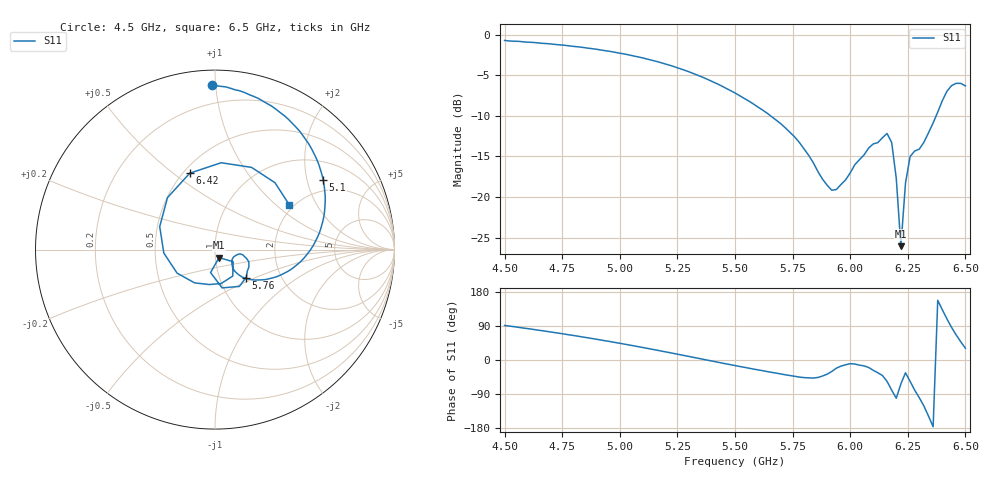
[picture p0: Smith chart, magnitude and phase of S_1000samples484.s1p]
! TOUCHSTONE file generated by CST MICROWAVE STUDIO
! Date and time: Fri Oct 28 07:52:29 2022
! Project name: L.cst
! Parameters = {Di=1.27; Epsilon_r=1.56; InnerDiameter=1.27; Length=2; Lf=10; Lg=60; OuterConductorThickness=0.2921; OuterDiameter=3.6; Wf=3; Wp=41.2; de=1.5; df=6.8; g=0.8; gx=2.92407; gy=4.59872; h=2.34; hf=1.524; px=14.2924; py=9.56321; w=9.7; wx=11.3683; wy=4.96449}
! Header version: 2018
! Port assignment regex: !\s*Touchstone port\s*([0-9]+)\s*=\s*(CST MWS port|CST DS port)\s*([0-9]+|Zmin|Zmax)\s*\(\"(.*)\"\)(\s*mode\s*([0-9]+))?.*
! Touchstone port assignment:
! Touchstone port 1 = CST MWS port 1 ("")
# GHz S DB R 50
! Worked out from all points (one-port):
!   101 points, 4.5 GHz to 6.5 GHz, reference 50 ohm
!   lowest |S11| = -26.0 dB at 6.22 GHz (marker M1), VSWR 1.10, Z = 52.1 - j4.64 ohm
!   |S11| at or under -10 dB: 5.654 GHz to 6.373 GHz (718.9 MHz wide, 12 % of centre)
!   S11 on the Smith chart (normalised r, x): 4.5 GHz: 0.08, +0.98; 5.1 GHz: 1.56, +2.52; 5.76 GHz: 1.33, -0.45; 6.42 GHz: 0.54, +0.57; 6.5 GHz: 1.89, +1.23
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4.5  -0.73 91.1
4.76  -1.32 68.4
5  -2.29 44.1
5.1  -2.88 32.9
5.26  -4.19 14.2
5.5  -7.19 -14.7
5.64  -9.69 -30.6
5.76  -12.63 -43.1
5.86  -16.87 -46.2
5.92  -19.16 -30.3
6  -17.03 -9.7
6.1  -13.46 -27.2
6.16  -12.17 -56.5
6.18  -13.28 -79.5
6.2  -17.70 -100.9
6.22  -26.04 -63.0
6.24  -18.29 -33.9
6.26  -15.01 -56.2
6.3  -14.09 -99.7
6.34  -12.09 -148.2
6.36  -10.88 -176.2
6.38  -9.54 157.5
6.4  -8.13 132.4
6.42  -6.97 108.3
6.44  -6.28 85.9
6.46  -6.00 66.0
6.48  -6.01 48.1
6.5  -6.32 31.1
